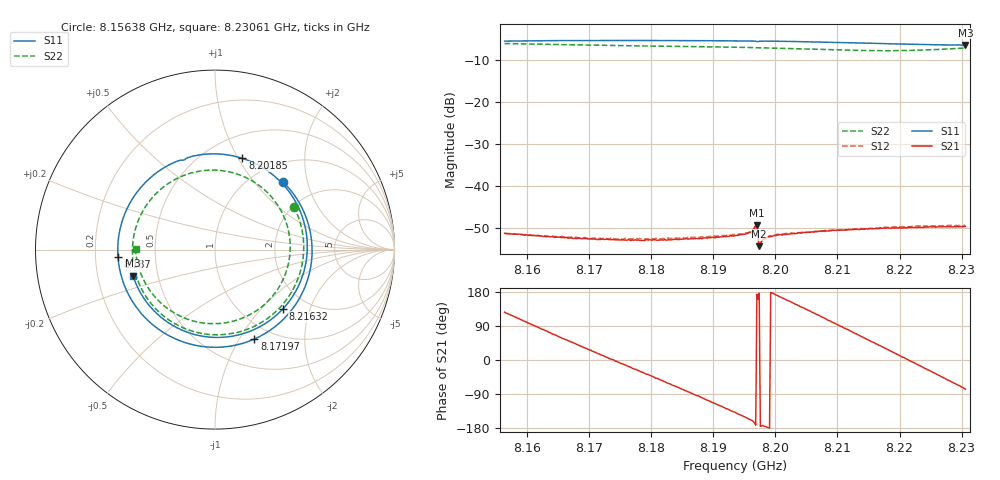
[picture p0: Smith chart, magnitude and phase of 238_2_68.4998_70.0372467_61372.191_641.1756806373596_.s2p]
#  HZ  S  RI  R  50.00
! Rohde & Schwarz Vector Network Analyzer
! Rohde-Schwarz,ZNB20-2Port,1311601062101988,3.16
! Created: UTC 3/20/2024, 4:59:14 PM
! freq[Hz]  re:S11  im:S11  re:S21  im:S21  re:S12  im:S12  re:S22  im:S22
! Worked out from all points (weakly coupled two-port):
!   401 points, 8.15638 GHz to 8.23061 GHz, reference 50 ohm
!   highest |S21| = -49.37 dB at 8.19702 GHz (marker M1); lowest = -54.4 dB at 8.19739 GHz (marker M2)
!   lowest |S11| = -6.4 dB at 8.23061 GHz (marker M3), VSWR 2.84, Z = 18 - j6.79 ohm
!   |S11| at or under -10 dB: nowhere
!   |S22| runs from -7.7 to -6.0 dB; largest |S21 - S12| = 0.00023
!   S11 on the Smith chart (normalised r, x): 8.15638 GHz: 1.35, +1.43; 8.17197 GHz: 0.82, -1.16; 8.187 GHz: 0.30, -0.04; 8.20185 GHz: 0.73, +1.04; 8.21632 GHz: 1.51, -1.33; 8.23061 GHz: 0.36, -0.14
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8.156377e9  0.3773 0.3783  -0.00161 0.00218  -0.0016 0.00216  0.4392 0.2393
8.162687e9  0.5409 -0.000763  0.000448 0.00244  0.000433 0.00248  0.4722 -0.1338
8.168811e9  0.3934 -0.3757  0.0019 0.00136  0.00191 0.0014  0.2516 -0.41
8.171966e9  0.2196 -0.4982  0.00225 0.000511  0.00226 0.000551  0.0803 -0.4699
8.176606e9  -0.0907 -0.5367  0.00212 -0.000719  0.0022 -0.000758  -0.1788 -0.4351
8.181246e9  -0.3728 -0.3955  0.00142 -0.00173  0.00144 -0.00183  -0.378 -0.2713
8.186999e9  -0.5404 -0.0422  -6.19e-05 -0.00234  -9.98e-05 -0.00243  -0.4585 0.0324
8.190154e9  -0.5116 0.1752  -0.000974 -0.00218  -0.00111 -0.00227  -0.41 0.1998
8.193495e9  -0.3889 0.373  -0.00187 -0.00171  -0.00203 -0.00166  -0.2936 0.3436
8.19665e9  -0.2027 0.4951  -0.00302 -0.000729  -0.00316 -0.000641  -0.1381 0.4253
8.197021e9  -0.1759 0.4982  -0.00338 0.000386  -0.00347 0.000514  -0.118 0.4304
8.197392e9  -0.1606 0.5081  -0.0019 0.000117  -0.00194 0.000207  -0.0975 0.4349
8.197764e9  -0.1341 0.5176  -0.00214 -0.000223  -0.00217 -0.000154  -0.0767 0.4386
8.201847e9  0.1522 0.5085  -0.00244 0.000984  -0.00246 0.00108  0.1513 0.4105
8.20593e9  0.3903 0.3507  -0.00165 0.00229  -0.00158 0.00232  0.336 0.2666
8.211126e9  0.5142 0.00977  0.000309 0.00293  0.000357 0.00298  0.4172 -0.0268
8.216323e9  0.3788 -0.3298  0.00228 0.00205  0.00238 0.00202  0.2718 -0.3089
8.218364e9  0.2638 -0.4217  0.00283 0.00135  0.00292 0.00127  0.1601 -0.3786
8.221334e9  0.0607 -0.4872  0.00315 4.52e-05  0.00322 -6.1e-05  -0.0316 -0.4121
8.224117e9  -0.1385 -0.4656  0.00298 -0.00121  0.00298 -0.00134  -0.2112 -0.3619
8.227458e9  -0.3416 -0.3392  0.00208 -0.00246  0.00204 -0.00263  -0.3772 -0.2058
8.230613e9  -0.4567 -0.1455  0.000737 -0.00318  0.000611 -0.00328  -0.4429 0.00265
